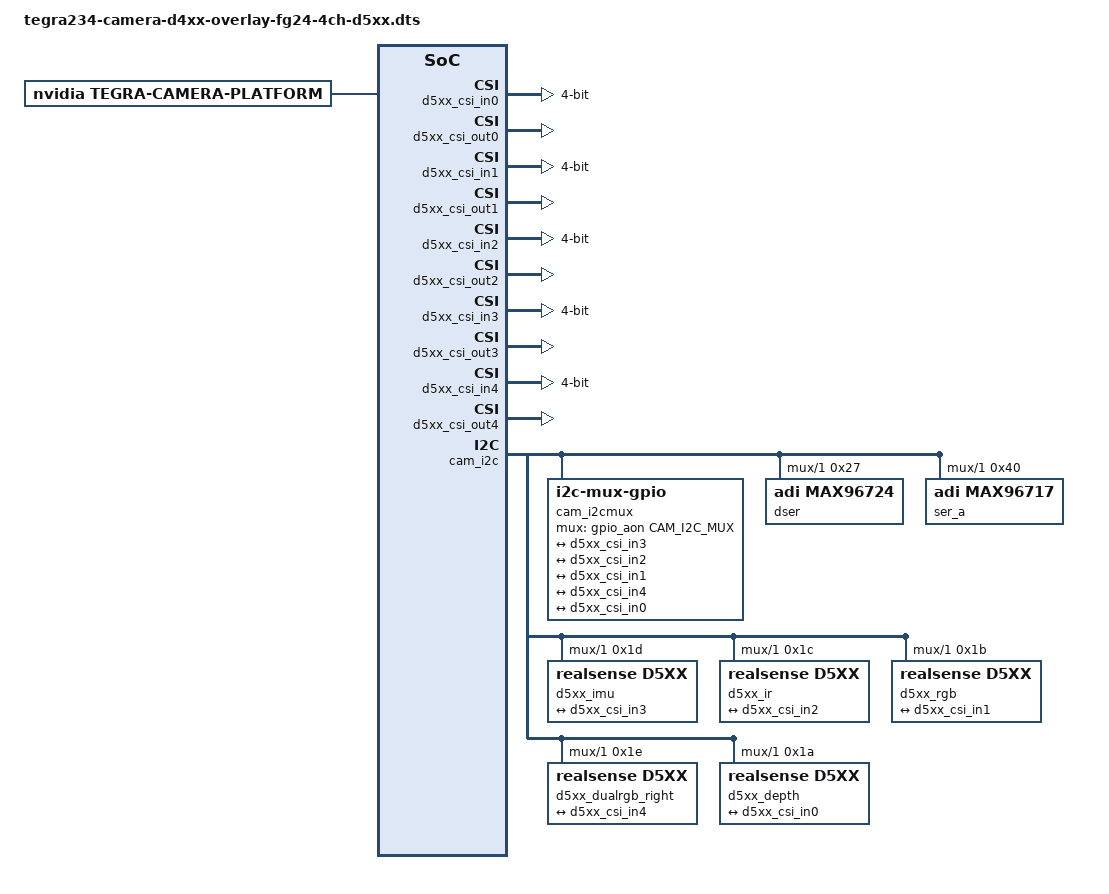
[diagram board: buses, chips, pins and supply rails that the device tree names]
// SPDX-License-Identifier: GPL-2.0-only
// SPDX-FileCopyrightText: Copyright (c) 2026, RealSense CORPORATION.  All rights reserved.

/*
 * Device tree overlay for RealSense D585 depth camera on FangZhu FG24-4CH board:
 *   Serializer:   MAX96717
 *   Deserializer: MAX96724
 *   Camera SoC:   HKR
 *   I2C Mux:      GPIO-based (i2c-mux-gpio)
 *   Board:        FangZhu FG24-4CH (Orin Nano/NX P3767+P3768)
 *
 * VC assignment:
 *   VC0 = Depth  (Z16,  1280x720  @60fps)
 *   VC1 = RGB    (YUY2, 1920x1080 @30fps)
 *   VC2 = IR     (Y8/Y8I/Y12I, 1280x720 @60fps)
 *   VC3 = IMU    (RAW8)
 *   VC1 = RGB-left and RGB-right on D585 2C shared-VC builds
 *
 * GMSL link:
 *   GMSL2 Tunnel Mode, 6 Gbps
 *   HKR MIPI Tx → MAX96717: 4-lane CSI-2
 *   MAX96724 Port A → Orin NVCSI: 4-lane CSI-2 over the Orin Nano CAM1
 *   22-pin connector.
 *
 * CSI port / control I2C:
 *   The physical CAM1 connector is not auto-bound to I2C by Linux. This
 *   overlay explicitly binds the video path to Orin NVCSI CSI-C via
 *   port-index 2 / tegra_sinterface "serial_c", and binds control I2C to
 *   cam_i2c (i2c@3180000) through the GPIO mux channel 1 node i2c@1
 *   (mux-gpio AON_GPIO(CC,3) driven HIGH). Linux runtime i2c-10 is HDMI DDC
 *   on this platform and is not the camera control bus.
 *
 * I2C address map (7-bit):
 *   GPIO mux:     AON_GPIO(CC, 3)
 *   MAX96724 deser:  0x27
 *   MAX96717 ser:    0x40 (default), 0x60 (aliased)
 *   HKR camera SoC:  0x10 (def-addr)
 *   Sensor aliases:   0x1a (Depth), 0x1b (RGB), 0x1c (IR), 0x1d (IMU)
 *
 * CSI lane properties:
 *   mipi-lane-rate-mbps = HKR-to-MAX96717 input rate per lane
 *   csi-lane-rate-mbps  = MAX96724-to-Orin output rate per lane
 *   csi-lane-count      = MAX96724 output width; only 4 lanes are supported
 *
 * ADI specifies a fixed 6 Gbps GMSL2 forward rate and up to 2.5 Gbps per
 * D-PHY lane. This single-link topology uses 4 x 1500 Mbps on the CSI output,
 * matching the 6 Gbps input-link ceiling; 4 x 2000 Mbps adds D-PHY headroom
 * but cannot increase sustained input-limited throughput. The generic driver
 * keeps its legacy 2000 Mbps default for other, potentially 2-lane, boards.
 */

/dts-v1/;
/plugin/;

#include <dt-bindings/clock/tegra234-clock.h>
#include <dt-bindings/gpio/tegra234-gpio.h>
#include <dt-bindings/tegra234-p3767-0000-common.h>

#define CAM_I2C_MUX	TEGRA234_AON_GPIO(CC, 3)

/ {
	overlay-name = "Jetson RealSense Camera D5xx with max96724 on FG24-4CH";
	jetson-header-name = "Jetson 22pin CSI Connector";
	compatible = JETSON_COMPATIBLE_P3768;

	fragment@0 {
		target-path = "/";
		__overlay__ {
			tegra-capture-vi {
				num-channels = <4>;
				ports {
					#address-cells = <1>;
					#size-cells = <0>;

					/* VC0: Depth — Z16 1280x720 @60fps */
					port@0 {
						status = "okay";
						reg = <0>;
						d5xx_vi_in0: endpoint {
							status = "okay";
							vc-id = <0>;
							port-index = <2>;
							bus-width = <4>;
							remote-endpoint = <&d5xx_csi_out0>;
						};
					};

					/* VC1: RGB — YUY2 1920x1080 @30fps */
					port@1 {
						status = "okay";
						reg = <1>;
						d5xx_vi_in1: endpoint {
							status = "okay";
							vc-id = <1>;
							port-index = <2>;
							bus-width = <4>;
							remote-endpoint = <&d5xx_csi_out1>;
						};
					};

					/* VC2: IR — Y8/Y8I/Y12I 1280x720 @60fps */
					port@2 {
						status = "okay";
						reg = <2>;
						d5xx_vi_in2: endpoint {
							status = "okay";
							vc-id = <2>;
							port-index = <2>;
							bus-width = <4>;
							remote-endpoint = <&d5xx_csi_out2>;
						};
					};

					/* VC3: IMU — RAW8 */
					port@3 {
						status = "okay";
						reg = <3>;
						d5xx_vi_in3: endpoint {
							status = "okay";
							vc-id = <3>;
							port-index = <2>;
							bus-width = <4>;
							remote-endpoint = <&d5xx_csi_out3>;
						};
					};

					/* VC1: RGB-right on D585 2C shared-VC builds */
					port@4 {
						status = "okay";
						reg = <4>;
						d5xx_vi_in4: endpoint {
							status = "okay";
							vc-id = <1>;
							port-index = <2>;
							bus-width = <4>;
							remote-endpoint = <&d5xx_csi_out4>;
						};
					};
				};
			};

			/*
			 * tegra-camera-platform is REQUIRED. Without it the
			 * tegra_camera_platform driver never probes, leaving
			 * tegra_camera_misc.parent == NULL. At STREAMON,
			 * vi5_power_on() -> tegra_camera_emc_clk_enable() calls
			 * dev_get_drvdata(NULL) -> NULL deref at offset 0x78 ->
			 * kernel panic / instant reboot. The 4 modules below map
			 * the 4 D5xx streams (Depth/RGB/IR/IMU) for bandwidth calc.
			 */
			tegra-camera-platform {
				status = "okay";
				compatible = "nvidia, tegra-camera-platform";
				num_csi_lanes = <4>;
				max_lane_speed = <1500000>;
				min_bits_per_pixel = <10>;
				vi_peak_byte_per_pixel = <2>;
				vi_bw_margin_pct = <25>;
				max_pixel_rate = <7500000>;
				isp_peak_byte_per_pixel = <5>;
				isp_bw_margin_pct = <25>;

				modules {
					cam_module0: module0 {
						badge = "d5xx_depth";
						position = "bottomleft";
						orientation = "1";
						cam_module0_drivernode0: drivernode0 {
							pcl_id = "v4l2_sensor";
							sysfs-device-tree = "/sys/firmware/devicetree/base/bus@0/cam_i2cmux/i2c@1/d5xx@1a";
						};
					};
					cam_module1: module1 {
						badge = "d5xx_rgb";
						position = "centerleft";
						orientation = "1";
						cam_module1_drivernode0: drivernode0 {
							pcl_id = "v4l2_sensor";
							sysfs-device-tree = "/sys/firmware/devicetree/base/bus@0/cam_i2cmux/i2c@1/d5xx@1b";
						};
					};
					cam_module2: module2 {
						badge = "d5xx_ir";
						position = "topleft";
						orientation = "1";
						cam_module2_drivernode0: drivernode0 {
							pcl_id = "v4l2_sensor";
							sysfs-device-tree = "/sys/firmware/devicetree/base/bus@0/cam_i2cmux/i2c@1/d5xx@1c";
						};
					};
					cam_module3: module3 {
						badge = "d5xx_imu";
						position = "frontcenter";
						orientation = "1";
						cam_module3_drivernode0: drivernode0 {
							pcl_id = "v4l2_sensor";
							sysfs-device-tree = "/sys/firmware/devicetree/base/bus@0/cam_i2cmux/i2c@1/d5xx@1d";
						};
					};
				};
			};

			bus@0 {
				host1x@13e00000 {
					nvcsi@15a00000 {
						num-channels = <4>;
						#address-cells = <1>;
						#size-cells = <0>;

						/* NVCSI channel 0: Depth (VC0) */
						channel@0 {
							status = "okay";
							reg = <0>;
							ports {
                                status = "okay";
								#address-cells = <1>;
								#size-cells = <0>;
								port@0 {
									status = "okay";
									reg = <0>;
									d5xx_csi_in0: endpoint@0 {
										status = "okay";
										port-index = <2>;
										bus-width = <4>;
                                        vc-id = <0>;
										remote-endpoint = <&d5xx_depth_out>;
									};
								};
								port@1 {
									status = "okay";
									reg = <1>;
									d5xx_csi_out0: endpoint@1 {
										status = "okay";
										remote-endpoint = <&d5xx_vi_in0>;
									};
								};
							};
						};

						/* NVCSI channel 1: RGB (VC1) */
						channel@1 {
							status = "okay";
							reg = <1>;
							ports {
                                status = "okay";
								#address-cells = <1>;
								#size-cells = <0>;
								port@0 {
									status = "okay";
									reg = <0>;
									d5xx_csi_in1: endpoint@2 {
										status = "okay";
										port-index = <2>;
										bus-width = <4>;
                                        vc-id = <1>;
										remote-endpoint = <&d5xx_rgb_out>;
									};
								};
								port@1 {
									status = "okay";
									reg = <1>;
									d5xx_csi_out1: endpoint@3 {
										status = "okay";
										remote-endpoint = <&d5xx_vi_in1>;
									};
								};
							};
						};

						/* NVCSI channel 2: IR (VC2) */
						channel@2 {
							status = "okay";
							reg = <2>;
							ports {
                                status = "okay";
								#address-cells = <1>;
								#size-cells = <0>;
								port@0 {
									status = "okay";
									reg = <0>;
									d5xx_csi_in2: endpoint@4 {
										status = "okay";
										port-index = <2>;
										bus-width = <4>;
                                        vc-id = <2>;
										remote-endpoint = <&d5xx_ir_out>;
									};
								};
								port@1 {
									status = "okay";
									reg = <1>;
									d5xx_csi_out2: endpoint@5 {
										status = "okay";
										remote-endpoint = <&d5xx_vi_in2>;
									};
								};
							};
						};

						/* NVCSI channel 3: IMU (VC3) */
						channel@3 {
							status = "okay";
							reg = <3>;
							ports {
                                status = "okay";
								#address-cells = <1>;
								#size-cells = <0>;
								port@0 {
									status = "okay";
									reg = <0>;
									d5xx_csi_in3: endpoint@6 {
										status = "okay";
										port-index = <2>;
										bus-width = <4>;
                                        vc-id = <3>;
										remote-endpoint = <&d5xx_imu_out>;
									};
								};
								port@1 {
									status = "okay";
									reg = <1>;
									d5xx_csi_out3: endpoint@7 {
										status = "okay";
										remote-endpoint = <&d5xx_vi_in3>;
									};
								};
							};
						};

						/* NVCSI channel 4: RGB-right (shared VC1) */
						channel@4 {
							status = "okay";
							reg = <4>;
							ports {
								status = "okay";
								#address-cells = <1>;
								#size-cells = <0>;
								port@0 {
									status = "okay";
									reg = <0>;
									d5xx_csi_in4: endpoint@8 {
										status = "okay";
										port-index = <2>;
										bus-width = <4>;
										vc-id = <1>;
										remote-endpoint = <&d5xx_dualrgb_right_out>;
									};
								};
								port@1 {
									status = "okay";
									reg = <1>;
									d5xx_csi_out4: endpoint@9 {
										status = "okay";
										remote-endpoint = <&d5xx_vi_in4>;
									};
								};
							};
						};
					};
				};

				cam_i2cmux {
					compatible = "i2c-mux-gpio";
					#address-cells = <1>;
					#size-cells = <0>;
					i2c-parent = <&cam_i2c>;
					mux-gpios = <&gpio_aon CAM_I2C_MUX GPIO_ACTIVE_HIGH>;

					/*
					 * Camera control path for this CAM1-wired design:
					 * cam_i2c -> GPIO mux channel 1 (i2c@1, mux-gpio HIGH).
					 * The video path is selected separately by serial_c /
					 * port-index 2 on all NVCSI and sensor endpoints.
					 */
					i2c@1 {
						reg = <1>;
						#address-cells = <1>;
						#size-cells = <0>;

						/*
						 * MAX96724 Deserializer
						 * I2C addr: 0x27 (7-bit)
						 * csi-mode: "2x4" — Controller1→PortA, 4-lane output
						 * max-src: 1 — single D585 camera on link
						 * gmsl-link-speed: 6 — 6Gbps GMSL2
						 */
						dser: max96724@27 {
							status = "okay";
							reg = <0x27>;
							compatible = "adi,max96724";
							csi-mode = "2x4";
							csi-lane-count = <4>;
							max-src = <1>;
							csi-lane-rate-mbps = <1500>;
							link-mask = <0x1>;
							gmsl-link-speed = <6>;
						};

						/*
						 * MAX96717 serializer address is assigned by MAX96724
						 * as 0x40 + link index (link A is 0x40).
						 * Single 4-lane CSI-2 D-PHY input.
						 */
						ser_a: max96717_a@40 {
							status = "okay";
							compatible = "adi,max96717";
							reg = <0x40>;
							adi,tunnel-mode;
							maxim,gmsl-dser-device = <&dser>;
						};

						/*
						 * D585 IMU stream — VC3
						 * RAW8 logical stream
						 */
						d5xx_imu: d5xx@1d {
							status = "okay";
							def-addr = <0x10>;
							reg = <0x1d>;
							override_reg = <0x1a>;
							compatible = "realsense,d5xx";
							use_sensor_mode_id = "true";
							cam-type = "IMU";
							mipi-lane-rate-mbps = <1300>;
							nvidia,gmsl-ser-device = <&ser_a>;
							nvidia,gmsl-dser-device = <&dser>;

							ports {
								#address-cells = <1>;
								#size-cells = <0>;

								port@0 {
									reg = <0>;
									d5xx_imu_out: endpoint {
										vc-id = <3>;
										port-index = <2>;
										bus-width = <4>;
										remote-endpoint = <&d5xx_csi_in3>;
									};
								};
							};

							mode0 {
								pixel_t = "grey_y8";
								num_lanes = "4";
								csi_pixel_bit_depth = "8";
								active_w = "640";
								active_h = "480";
								tegra_sinterface = "serial_c";
								phy_mode = "DPHY";
								discontinuous_clk = "no";
								cil_settletime = "0";
								deskew_initial_enable = "false";
								deskew_periodic_enable = "false";
								mclk_khz = "24000";
								pix_clk_hz = "650000000";
								serdes_pix_clk_hz = "750000000";
								line_length = "640";
								embedded_metadata_height = "0";
							};

							gmsl-link {
								src-csi-port = "a";
								dst-csi-port = "a";
								serdes-csi-link = "a";
								csi-mode = "1x4";
								st-vc = <3>;
								vc-id = <3>;
								num-lanes = <4>;
							};
						};

						/*
						 * D585 IR stream — VC2
						 * Y8/Y8I/Y12I, 1280x720, 60fps
						 */
						d5xx_ir: d5xx@1c {
							status = "okay";
							def-addr = <0x10>;
							reg = <0x1c>;
							override_reg = <0x1a>;
							compatible = "realsense,d5xx";
							use_sensor_mode_id = "true";
							cam-type = "Y8";
							mipi-lane-rate-mbps = <1300>;
							nvidia,gmsl-ser-device = <&ser_a>;
							nvidia,gmsl-dser-device = <&dser>;

							ports {
								#address-cells = <1>;
								#size-cells = <0>;

								port@0 {
									reg = <0>;
									d5xx_ir_out: endpoint {
										vc-id = <2>;
										port-index = <2>;
										bus-width = <4>;
										remote-endpoint = <&d5xx_csi_in2>;
									};
								};
							};

							mode0 {
								/* Y8: 8-bit raw IR */
								pixel_t = "grey_y8";
								num_lanes = "4";
								csi_pixel_bit_depth = "8";
								active_w = "1280";
								active_h = "720";
								tegra_sinterface = "serial_c";
								phy_mode = "DPHY";
								discontinuous_clk = "no";
								cil_settletime = "0";
								deskew_initial_enable = "false";
								deskew_periodic_enable = "false";
								mclk_khz = "24000";
								pix_clk_hz = "650000000";
								serdes_pix_clk_hz = "750000000";
								line_length = "1280";
								embedded_metadata_height = "1";
							};

							mode1 {
								/* Y8I: 16-bit Raw IR interleaved */
								pixel_t = "grey_y16";
								num_lanes = "4";
								csi_pixel_bit_depth = "16";
								active_w = "1280";
								active_h = "720";
								tegra_sinterface = "serial_c";
								phy_mode = "DPHY";
								discontinuous_clk = "no";
								cil_settletime = "0";
								deskew_initial_enable = "false";
								deskew_periodic_enable = "false";
								mclk_khz = "24000";
								pix_clk_hz = "325000000";
								serdes_pix_clk_hz = "375000000";
								line_length = "1280";
								embedded_metadata_height = "1";
							};

							gmsl-link {
								src-csi-port = "a";
								dst-csi-port = "a";
								serdes-csi-link = "a";
								csi-mode = "1x4";
								st-vc = <2>;
								vc-id = <2>;
								num-lanes = <4>;
							};
						};

						/*
						 * D585 RGB stream — VC1
						 * YUY2, 1920x1080, 30fps
						 */
						d5xx_rgb: d5xx@1b {
							status = "okay";
							def-addr = <0x10>;
							reg = <0x1b>;
							override_reg = <0x1a>;
							compatible = "realsense,d5xx";
							use_sensor_mode_id = "true";
							cam-type = "RGB";
							mipi-lane-rate-mbps = <1300>;
							nvidia,gmsl-ser-device = <&ser_a>;
							nvidia,gmsl-dser-device = <&dser>;

							ports {
								#address-cells = <1>;
								#size-cells = <0>;

								port@0 {
									reg = <0>;
									d5xx_rgb_out: endpoint {
										vc-id = <1>;
										port-index = <2>;
										bus-width = <4>;
										remote-endpoint = <&d5xx_csi_in1>;
									};
								};
							};

							mode0 {
								pixel_t = "yuv_yuyv16";
								num_lanes = "4";
								csi_pixel_bit_depth = "16";
								active_w = "1920";
								active_h = "1080";
								tegra_sinterface = "serial_c";
								phy_mode = "DPHY";
								discontinuous_clk = "no";
								cil_settletime = "0";
								deskew_initial_enable = "false";
								deskew_periodic_enable = "false";
								mclk_khz = "24000";
								pix_clk_hz = "325000000";
								serdes_pix_clk_hz = "375000000";
								line_length = "1920";
								embedded_metadata_height = "1";
							};

							gmsl-link {
								src-csi-port = "a";
								dst-csi-port = "a";
								serdes-csi-link = "a";
								csi-mode = "1x4";
								st-vc = <1>;
								vc-id = <1>;
								num-lanes = <4>;
							};
						};

						/* D585 2C RGB-right stream on shared VC1. */
						d5xx_dualrgb_right: d5xx@1e {
							status = "okay";
							def-addr = <0x10>;
							reg = <0x1e>;
							override_reg = <0x1a>;
							compatible = "realsense,d5xx";
							use_sensor_mode_id = "true";
							cam-type = "DUALRGB_RIGHT";
							mipi-lane-rate-mbps = <1300>;
							nvidia,gmsl-ser-device = <&ser_a>;
							nvidia,gmsl-dser-device = <&dser>;

							ports {
								#address-cells = <1>;
								#size-cells = <0>;

								port@0 {
									reg = <0>;
									d5xx_dualrgb_right_out: endpoint {
										vc-id = <1>;
										port-index = <2>;
										bus-width = <4>;
										remote-endpoint = <&d5xx_csi_in4>;
									};
								};
							};

							mode0 {
								pixel_t = "yuv_yuyv16";
								num_lanes = "4";
								csi_pixel_bit_depth = "16";
								active_w = "1920";
								active_h = "1080";
								tegra_sinterface = "serial_c";
								phy_mode = "DPHY";
								discontinuous_clk = "no";
								cil_settletime = "0";
								deskew_initial_enable = "false";
								deskew_periodic_enable = "false";
								mclk_khz = "24000";
								pix_clk_hz = "325000000";
								serdes_pix_clk_hz = "375000000";
								line_length = "1920";
								embedded_metadata_height = "1";
							};

							gmsl-link {
								src-csi-port = "a";
								dst-csi-port = "a";
								serdes-csi-link = "a";
								csi-mode = "1x4";
								st-vc = <1>;
								vc-id = <1>;
								num-lanes = <4>;
							};
						};

						/*
						 * D585 Depth stream — VC0
						 * Z16, 1280x720, 60fps
						 */
						d5xx_depth: d5xx@1a {
							status = "okay";
							def-addr = <0x10>;
							reg = <0x1a>;
							compatible = "realsense,d5xx";
							use_sensor_mode_id = "true";
							cam-type = "Depth";
							mipi-lane-rate-mbps = <1300>;
							nvidia,gmsl-ser-device = <&ser_a>;
							nvidia,gmsl-dser-device = <&dser>;

							ports {
								#address-cells = <1>;
								#size-cells = <0>;

								port@0 {
									reg = <0>;
									d5xx_depth_out: endpoint {
										vc-id = <0>;
										port-index = <2>;
										bus-width = <4>;
										remote-endpoint = <&d5xx_csi_in0>;
									};
								};
							};

							/*
							 * At 1.5Gbps/lane, SerDes pixel clock is
							 * 375MHz at 16bpp and 750MHz at 8bpp in
							 * mixed-VC tunnel mode.
							 */
							mode0 {
								pixel_t = "yuv_uyvy16";
								num_lanes = "4";
								csi_pixel_bit_depth = "16";
								active_w = "1280";
								active_h = "720";
								tegra_sinterface = "serial_c";
								phy_mode = "DPHY";
								discontinuous_clk = "no";
								cil_settletime = "0";
								deskew_initial_enable = "false";
								deskew_periodic_enable = "false";
								mclk_khz = "24000";
								pix_clk_hz = "325000000";
								serdes_pix_clk_hz = "375000000";
								line_length = "1280";
								embedded_metadata_height = "1";
							};

							gmsl-link {
								src-csi-port = "a";
								dst-csi-port = "a";
								serdes-csi-link = "a";
								csi-mode = "1x4";
								st-vc = <0>;
								vc-id = <0>;
								num-lanes = <4>;
							};
						};
					};
				};
			};
		};
	};
};
